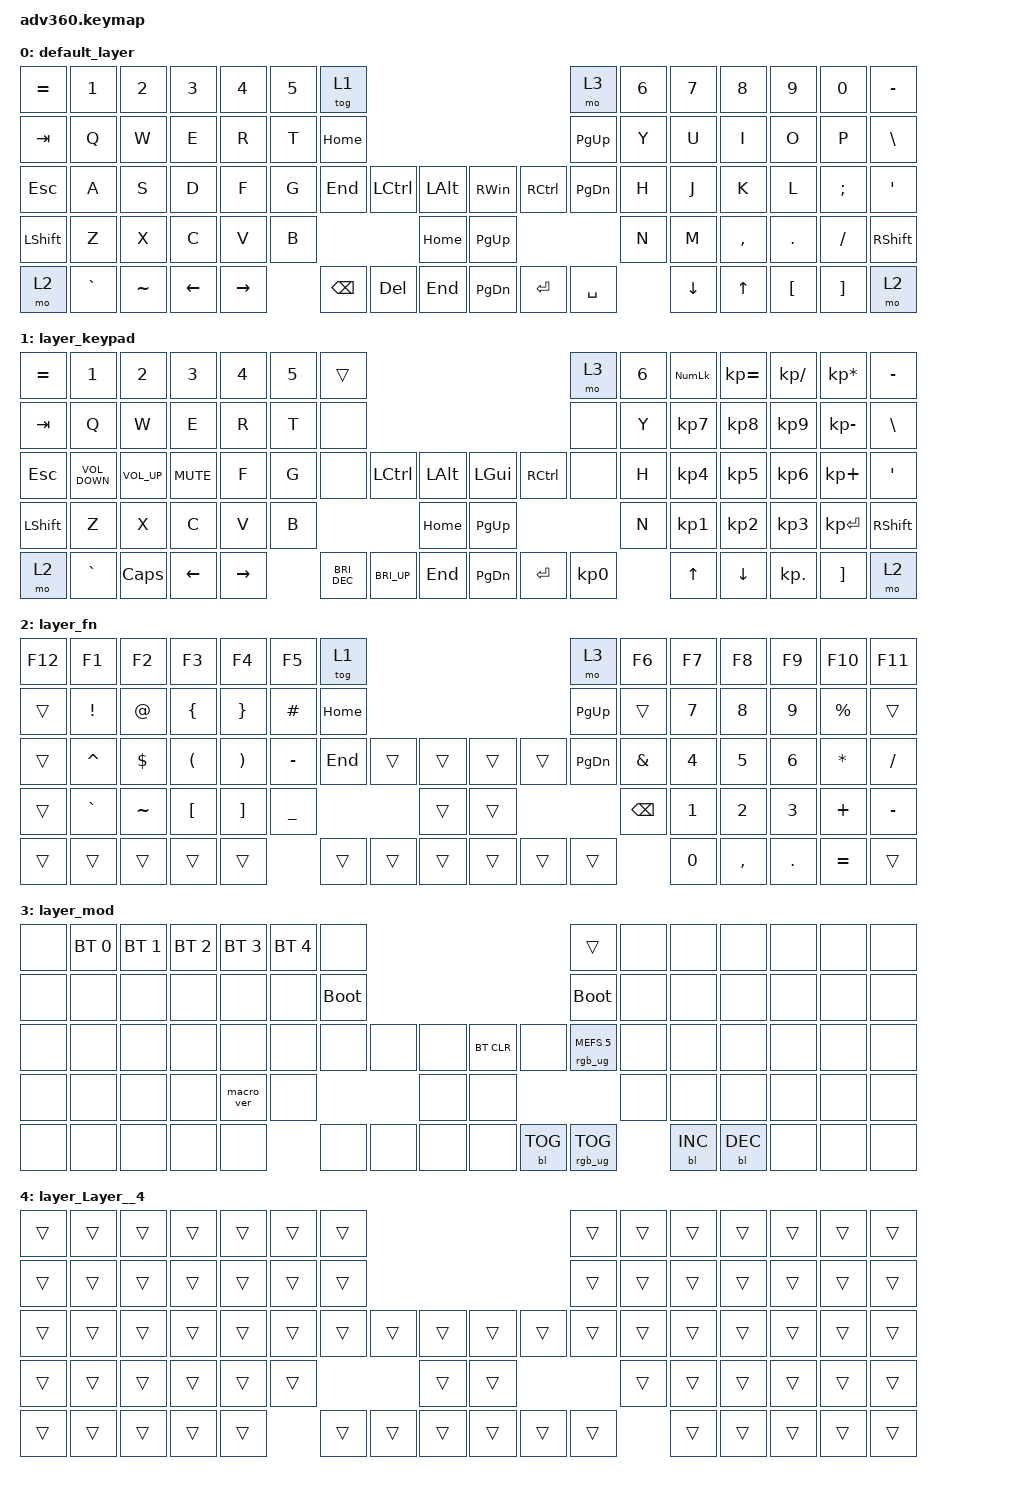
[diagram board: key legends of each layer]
/*
 * Copyright (c) 2020 The ZMK Contributors
 *
 * SPDX-License-Identifier: MIT
 */
/* THIS FILE WAS GENERATED!
 *
 * This file was generated automatically. You may or may not want to
 * edit it directly.
 */

#include <behaviors.dtsi>
#include <dt-bindings/zmk/backlight.h>
#include <dt-bindings/zmk/bt.h>
#include <dt-bindings/zmk/keys.h>
#include <dt-bindings/zmk/rgb.h>

/ {
    behaviors {
        #include "macros.dtsi"
    #include "version.dtsi"
    #include "extra_morphs.dtsi"

        hm: homerow_mods {
            compatible = "zmk,behavior-hold-tap";
            label = "HOMEROW_MODS";
            #binding-cells = <2>;
            tapping-term-ms = <200>;
            quick_tap_ms = <175>;
            flavor = "tap-preferred";
            bindings = <&kp>, <&kp>;
        };
    };

    keymap {
        compatible = "zmk,keymap";

        default_layer {
            bindings = <
&kp EQUAL  &kp N1     &kp N2     &kp N3    &kp N4     &kp N5  &tog 1                                                   &mo 3      &kp N6  &kp N7    &kp N8     &kp N9    &kp N0    &kp MINUS
&kp TAB    &kp Q      &kp W      &kp E     &kp R      &kp T   &kp HOME                                                 &kp PG_UP  &kp Y   &kp U     &kp I      &kp O     &kp P     &kp BSLH
&kp ESC    &kp A      &kp S      &kp D     &kp F      &kp G   &kp END   &kp LCTRL  &kp LALT      &kp RWIN   &kp RCTRL  &kp PG_DN  &kp H   &kp J     &kp K      &kp L     &kp SEMI  &kp SQT
&kp LSHFT  &kp Z      &kp X      &kp C     &kp V      &kp B                        &kp HOME      &kp PG_UP                        &kp N   &kp M     &kp COMMA  &kp DOT   &kp FSLH  &kp RSHFT
&mo 2      &kp GRAVE  &kp TILDE  &kp LEFT  &kp RIGHT          &kp BSPC  &kp DEL    &kp END       &kp PG_DN  &kp ENTER  &kp SPACE          &kp DOWN  &kp UP     &kp LBKT  &kp RBKT  &mo 2
            >;
        };

        layer_keypad {
            bindings = <
&kp EQUAL  &kp N1             &kp N2           &kp N3      &kp N4     &kp N5  &trans                                                                  &mo 3      &kp N6  &kp KP_NUM  &kp KP_EQUAL  &kp KP_DIVIDE  &kp KP_MULTIPLY  &kp MINUS
&kp TAB    &kp Q              &kp W            &kp E       &kp R      &kp T   &none                                                                   &none      &kp Y   &kp KP_N7   &kp KP_N8     &kp KP_N9      &kp KP_MINUS     &kp BSLH
&kp ESC    &kp C_VOLUME_DOWN  &kp C_VOLUME_UP  &kp C_MUTE  &kp F      &kp G   &none                 &kp LCTRL     &kp LALT      &kp LGUI   &kp RCTRL  &none      &kp H   &kp KP_N4   &kp KP_N5     &kp KP_N6      &kp KP_PLUS      &kp SQT
&kp LSHFT  &kp Z              &kp X            &kp C       &kp V      &kp B                                       &kp HOME      &kp PG_UP                        &kp N   &kp KP_N1   &kp KP_N2     &kp KP_N3      &kp KP_ENTER     &kp RSHFT
&mo 2      &kp GRAVE          &kp CAPS         &kp LEFT    &kp RIGHT          &kp C_BRIGHTNESS_DEC  &kp C_BRI_UP  &kp END       &kp PG_DN  &kp ENTER  &kp KP_N0          &kp UP      &kp DOWN      &kp KP_DOT     &kp RBKT         &mo 2
            >;
        };

        layer_fn {
            bindings = <
&kp F12  &kp F1           &kp F2       &kp F3                &kp F4                 &kp F5          &tog 1                                        &mo 3      &kp F6         &kp F7  &kp F8     &kp F9   &kp F10       &kp F11
&trans   &kp EXCLAMATION  &kp AT_SIGN  &kp LEFT_BRACE        &kp RIGHT_BRACE        &kp HASH        &kp HOME                                      &kp PG_UP  &trans         &kp N7  &kp N8     &kp N9   &kp PERCENT   &trans
&trans   &kp CARET        &kp DOLLAR   &kp LEFT_PARENTHESIS  &kp RIGHT_PARENTHESIS  &kp MINUS       &kp END   &trans  &trans      &trans  &trans  &kp PG_DN  &kp AMPERSAND  &kp N4  &kp N5     &kp N6   &kp ASTERISK  &kp SLASH
&trans   &kp GRAVE        &kp TILDE    &kp LEFT_BRACKET      &kp RIGHT_BRACKET      &kp UNDERSCORE                    &trans      &trans                     &kp BACKSPACE  &kp N1  &kp N2     &kp N3   &kp PLUS      &kp MINUS
&trans   &trans           &trans       &trans                &trans                                 &trans    &trans  &trans      &trans  &trans  &trans                    &kp N0  &kp COMMA  &kp DOT  &kp EQUAL     &trans
            >;
        };

        layer_mod {
            bindings = <
&none  &bt BT_SEL 0  &bt BT_SEL 1  &bt BT_SEL 2  &bt BT_SEL 3  &bt BT_SEL 4  &none                                                  &trans                  &none  &none       &none       &none  &none  &none
&none  &none         &none         &none         &none         &none         &bootloader                                            &bootloader             &none  &none       &none       &none  &none  &none
&none  &none         &none         &none         &none         &none         &none        &none  &none      &bt BT_CLR  &none       &rgb_ug RGB_MEFS_CMD 5  &none  &none       &none       &none  &none  &none
&none  &none         &none         &none         &macro_ver    &none                             &none      &none                                           &none  &none       &none       &none  &none  &none
&none  &none         &none         &none         &none                       &none        &none  &none      &none       &bl BL_TOG  &rgb_ug RGB_TOG                &bl BL_INC  &bl BL_DEC  &none  &none  &none
            >;
        };

        layer_Layer__4 {
            bindings = <
&trans  &trans  &trans  &trans  &trans  &trans  &trans                                      &trans  &trans  &trans  &trans  &trans  &trans  &trans
&trans  &trans  &trans  &trans  &trans  &trans  &trans                                      &trans  &trans  &trans  &trans  &trans  &trans  &trans
&trans  &trans  &trans  &trans  &trans  &trans  &trans  &trans  &trans      &trans  &trans  &trans  &trans  &trans  &trans  &trans  &trans  &trans
&trans  &trans  &trans  &trans  &trans  &trans                  &trans      &trans                  &trans  &trans  &trans  &trans  &trans  &trans
&trans  &trans  &trans  &trans  &trans          &trans  &trans  &trans      &trans  &trans  &trans          &trans  &trans  &trans  &trans  &trans
            >;
        };
    };
};
